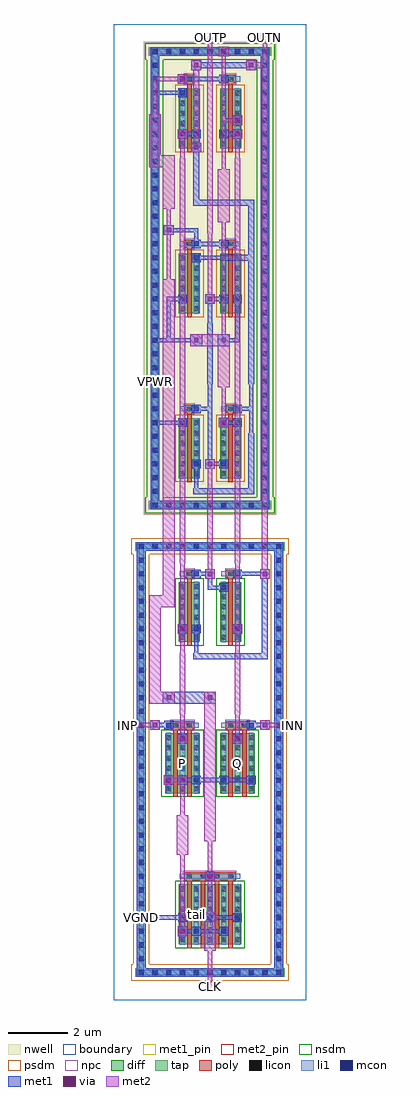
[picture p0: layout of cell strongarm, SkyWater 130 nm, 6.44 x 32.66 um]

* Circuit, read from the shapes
.subckt strongarm CLK INN INP OUTN OUTP P Q VGND VPWR tail
XM1 P INP tail VGND sky130_fd_pr__nfet_01v8 w=2 l=0.15 m=2
XM2 tail CLK VGND VGND sky130_fd_pr__nfet_01v8 w=2 l=0.15 m=4
XM3 OUTN OUTP P VGND sky130_fd_pr__nfet_01v8 w=2 l=0.15
XM4 Q INN tail VGND sky130_fd_pr__nfet_01v8 w=2 l=0.15 m=2
XM5 Q OUTN OUTP VGND sky130_fd_pr__nfet_01v8 w=2 l=0.15
XM6 OUTN OUTP VPWR VPWR sky130_fd_pr__pfet_01v8 w=2 l=0.15
XM7 OUTN CLK VPWR VPWR sky130_fd_pr__pfet_01v8 w=2 l=0.15
XM8 P CLK VPWR VPWR sky130_fd_pr__pfet_01v8 w=2 l=0.15
XM9 VPWR OUTN OUTP VPWR sky130_fd_pr__pfet_01v8 w=2 l=0.15
XM10 VPWR CLK OUTP VPWR sky130_fd_pr__pfet_01v8 w=2 l=0.15
XM11 VPWR CLK Q VPWR sky130_fd_pr__pfet_01v8 w=2 l=0.15
.ends

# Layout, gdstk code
import gdstk
lib = gdstk.Library(unit=1e-6, precision=1e-09)
def R(c, l, rs):  # rectangles x0, y0, x1, y1
    for r in rs: c.add(gdstk.rectangle(r[:2], r[2:], *l))
def A(c, l, x, y, w, h, nx, ny, dx, dy):  # array of equal rectangles
    R(c, l, [(x+i*dx, y+j*dy, x+i*dx+w, y+j*dy+h) for i in range(nx) for j in range(ny)])
nwell = (64, 20)
diff = (65, 20)
tap = (65, 44)
poly = (66, 20)
licon = (66, 44)
li1 = (67, 20)
mcon = (67, 44)
met1_pin = (68, 16)
met1 = (68, 20)
via = (68, 44)
met2_pin = (69, 16)
met2 = (69, 20)
nsdm = (93, 44)
psdm = (94, 20)
npc = (95, 20)
boundary = (235, 4)

strongarm = lib.new_cell('strongarm')
R(strongarm, nwell, [(0.995,16.235,5.445,32.065)])
A(strongarm, diff, 2.175, 17.46, 0.71, 2, 1, 3, 0, 5.52)
A(strongarm, diff, 3.555, 17.46, 0.71, 2, 1, 3, 0, 5.52)
R(strongarm, diff, [(2.175,1.865,4.265,3.865), (1.715,6.925,2.885,8.925), (3.555,6.925,4.725,8.925), (2.175,11.985,2.885,13.985), (3.555,11.985,4.265,13.985)])
R(strongarm, tap, [(0.715,0.775,5.725,1.065), (0.775,0.775,1.065,15.325), (5.375,0.775,5.665,15.325), (0.715,15.035,5.725,15.325), (1.175,16.415,5.265,16.705), (1.235,16.415,1.525,31.885), (4.915,16.415,5.205,31.885), (1.175,31.595,5.265,31.885)])
A(strongarm, poly, 2.455, 1.735, 0.15, 2.405, 4, 1, 0.46, 0)
A(strongarm, poly, 2.365, 14.125, 0.33, 0.27, 1, 4, 0, 5.52)
A(strongarm, poly, 3.745, 14.125, 0.33, 0.27, 1, 4, 0, 5.52)
A(strongarm, poly, 2.455, 17.33, 0.15, 2.45, 1, 3, 0, 5.52)
A(strongarm, poly, 3.835, 17.33, 0.15, 2.45, 1, 3, 0, 5.52)
R(strongarm, poly, [(2.365,4.005,4.075,4.275), (1.995,6.795,2.145,9.2), (2.455,6.795,2.605,9.2), (3.835,6.795,3.985,9.2), (4.295,6.795,4.445,9.2), (1.905,9.065,2.695,9.335), (3.745,9.065,4.535,9.335), (2.455,11.855,2.605,14.26), (3.835,11.855,3.985,14.26)])
A(strongarm, licon, 0.835, 0.835, 0.17, 0.17, 11, 2, 0.46, 14.26)
A(strongarm, licon, 0.835, 1.295, 0.17, 0.17, 1, 30, 0, 0.46)
A(strongarm, licon, 5.435, 1.295, 0.17, 0.17, 1, 30, 0, 0.46)
A(strongarm, licon, 2.215, 1.93, 0.17, 0.17, 5, 6, 0.46, 0.34)
A(strongarm, licon, 2.445, 4.055, 0.17, 0.17, 4, 1, 0.46, 0)
A(strongarm, licon, 1.755, 6.99, 0.17, 0.17, 3, 6, 0.46, 0.34)
A(strongarm, licon, 3.595, 6.99, 0.17, 0.17, 3, 6, 0.46, 0.34)
A(strongarm, licon, 2.215, 12.05, 0.17, 0.17, 1, 6, 0, 0.34)
A(strongarm, licon, 2.675, 12.05, 0.17, 0.17, 1, 6, 0, 0.34)
A(strongarm, licon, 3.595, 12.05, 0.17, 0.17, 1, 6, 0, 0.34)
A(strongarm, licon, 4.055, 12.05, 0.17, 0.17, 1, 6, 0, 0.34)
A(strongarm, licon, 2.445, 14.175, 0.17, 0.17, 1, 4, 0, 5.52)
A(strongarm, licon, 3.825, 14.175, 0.17, 0.17, 1, 4, 0, 5.52)
A(strongarm, licon, 1.295, 16.475, 0.17, 0.17, 9, 2, 0.46, 15.18)
A(strongarm, licon, 1.295, 16.935, 0.17, 0.17, 1, 32, 0, 0.46)
A(strongarm, licon, 4.975, 16.935, 0.17, 0.17, 1, 32, 0, 0.46)
A(strongarm, licon, 2.215, 17.525, 0.17, 0.17, 1, 6, 0, 0.34)
A(strongarm, licon, 2.675, 17.525, 0.17, 0.17, 1, 6, 0, 0.34)
A(strongarm, licon, 3.595, 17.525, 0.17, 0.17, 1, 6, 0, 0.34)
A(strongarm, licon, 4.055, 17.525, 0.17, 0.17, 1, 6, 0, 0.34)
A(strongarm, licon, 2.215, 23.045, 0.17, 0.17, 1, 6, 0, 0.34)
A(strongarm, licon, 2.675, 23.045, 0.17, 0.17, 1, 6, 0, 0.34)
A(strongarm, licon, 3.595, 23.045, 0.17, 0.17, 1, 6, 0, 0.34)
A(strongarm, licon, 4.055, 23.045, 0.17, 0.17, 1, 6, 0, 0.34)
A(strongarm, licon, 2.215, 28.565, 0.17, 0.17, 1, 6, 0, 0.34)
A(strongarm, licon, 2.675, 28.565, 0.17, 0.17, 1, 6, 0, 0.34)
A(strongarm, licon, 3.595, 28.565, 0.17, 0.17, 1, 6, 0, 0.34)
A(strongarm, licon, 4.055, 28.565, 0.17, 0.17, 1, 6, 0, 0.34)
R(strongarm, licon, [(1.985,9.115,2.155,9.285), (2.445,9.115,2.615,9.285), (3.825,9.115,3.995,9.285), (4.285,9.115,4.455,9.285)])
A(strongarm, li1, 2.215, 1.85, 0.17, 2.03, 5, 1, 0.46, 0)
A(strongarm, li1, 1.755, 6.91, 0.17, 2.03, 3, 1, 0.46, 0)
A(strongarm, li1, 3.595, 6.91, 0.17, 2.03, 3, 1, 0.46, 0)
A(strongarm, li1, 2.215, 14.175, 0.63, 0.17, 1, 4, 0, 5.52)
A(strongarm, li1, 3.595, 14.175, 0.63, 0.17, 1, 4, 0, 5.52)
A(strongarm, li1, 2.215, 17.445, 0.17, 2.03, 1, 3, 0, 5.52)
A(strongarm, li1, 2.675, 17.445, 0.17, 2.03, 1, 3, 0, 5.52)
A(strongarm, li1, 3.595, 17.445, 0.17, 2.03, 1, 3, 0, 5.52)
A(strongarm, li1, 4.055, 17.445, 0.17, 2.03, 1, 3, 0, 5.52)
R(strongarm, li1, [(0.755,0.835,5.685,1.005), (0.835,0.835,1.005,15.265), (5.435,0.835,5.605,15.265), (2.215,4.055,4.225,4.225), (1.755,9.115,2.845,9.285), (3.595,9.115,4.685,9.285), (2.215,11.97,2.385,14), (2.675,11.97,2.845,14), (3.595,11.97,3.765,14), (4.055,11.97,4.225,14), (0.755,15.095,5.685,15.265), (1.215,16.475,5.225,16.645), (1.295,16.475,1.465,31.825), (4.975,16.475,5.145,31.825), (1.215,31.655,5.225,31.825)])
A(strongarm, mcon, 0.835, 0.835, 0.17, 0.17, 11, 2, 0.46, 14.26)
A(strongarm, mcon, 0.835, 1.295, 0.17, 0.17, 1, 6, 0, 0.46)
A(strongarm, mcon, 5.435, 1.295, 0.17, 0.17, 1, 6, 0, 0.46)
A(strongarm, mcon, 2.215, 2.675, 0.17, 0.17, 3, 1, 0.92, 0)
A(strongarm, mcon, 0.835, 4.055, 0.17, 0.17, 3, 1, 2.3, 0)
A(strongarm, mcon, 0.835, 4.515, 0.17, 0.17, 1, 6, 0, 0.46)
A(strongarm, mcon, 5.435, 4.515, 0.17, 0.17, 1, 6, 0, 0.46)
A(strongarm, mcon, 0.835, 7.275, 0.17, 0.17, 6, 1, 0.92, 0)
A(strongarm, mcon, 0.835, 7.735, 0.17, 0.17, 1, 16, 0, 0.46)
A(strongarm, mcon, 5.435, 7.735, 0.17, 0.17, 1, 10, 0, 0.46)
A(strongarm, mcon, 2.675, 12.335, 0.17, 0.17, 3, 2, 1.38, 1.84)
A(strongarm, mcon, 5.435, 12.795, 0.17, 0.17, 1, 3, 0, 0.46)
A(strongarm, mcon, 1.295, 16.475, 0.17, 0.17, 9, 2, 0.46, 15.18)
A(strongarm, mcon, 1.295, 16.935, 0.17, 0.17, 1, 6, 0, 0.46)
A(strongarm, mcon, 4.975, 16.935, 0.17, 0.17, 1, 30, 0, 0.46)
A(strongarm, mcon, 1.295, 19.695, 0.17, 0.17, 3, 1, 1.38, 0)
A(strongarm, mcon, 1.295, 20.155, 0.17, 0.17, 1, 25, 0, 0.46)
A(strongarm, mcon, 2.215, 30.735, 0.17, 0.17, 3, 1, 1.38, 0)
R(strongarm, mcon, [(2.675,2.215,2.845,2.385), (3.595,2.215,3.765,2.385), (2.215,8.655,2.385,8.825), (4.055,8.655,4.225,8.825), (1.755,9.115,1.925,9.285), (4.515,9.115,4.685,9.285), (2.215,12.335,2.385,12.505), (3.595,13.715,3.765,13.885), (5.435,14.635,5.605,14.805), (2.675,17.855,2.845,18.025), (3.595,17.855,3.765,18.025), (2.215,19.235,2.385,19.405), (4.055,19.235,4.225,19.405), (2.215,23.375,2.385,23.545), (3.595,23.375,3.765,23.545), (4.055,23.375,4.225,23.545), (2.675,24.755,2.845,24.925), (2.675,25.215,2.845,25.385), (3.595,25.215,3.765,25.385), (2.675,28.895,2.845,29.065), (3.595,28.895,3.765,29.065), (4.055,29.355,4.225,29.525), (2.215,30.275,2.385,30.445), (4.975,31.195,5.145,31.365)])
R(strongarm, met1_pin, [(0.85,2.69,0.99,2.83), (1.31,19.25,1.45,22.15)])
A(strongarm, met1, 2.155, 2.615, 0.29, 0.29, 3, 1, 0.92, 0)
A(strongarm, met1, 1.695, 7.215, 0.29, 0.29, 4, 1, 0.92, 0)
R(strongarm, met1, [(0.775,0.775,5.665,1.065), (0.775,0.775,1.065,15.325), (5.375,0.775,5.665,15.325), (2.14,2.14,2.46,2.46), (2.615,2.155,2.905,2.445), (3.535,2.155,3.825,2.445), (2.23,2.23,2.83,2.37), (2.69,2.23,3.75,2.37), (0.85,2.69,2.37,2.83), (0.85,2.69,0.99,2.83), (0.85,2.69,0.99,15.25), (2.23,2.69,3.29,2.83), (3.15,2.69,4.21,2.83), (3.06,3.98,3.38,4.3), (3.075,3.995,3.365,4.285), (1.68,7.2,2,7.52), (2.14,7.2,2.46,7.52), (2.23,7.29,2.83,7.43), (2.69,7.29,3.75,7.43), (3.61,7.29,4.67,7.43), (2.14,8.58,2.46,8.9), (3.98,8.58,4.3,8.9), (2.155,8.595,2.445,8.885), (3.995,8.595,4.285,8.885), (1.22,9.04,1.54,9.36), (4.9,9.04,5.22,9.36), (1.695,9.055,1.985,9.345), (4.455,9.055,4.745,9.345), (1.31,9.13,1.91,9.27), (4.53,9.13,5.13,9.27), (1.64,9.92,2.04,10.32), (1.64,9.92,3.42,10.32), (3.02,9.92,3.42,10.32), (2.66,11.4,5.16,11.6), (4.96,11.4,5.16,14.36), (2.69,11.43,2.83,12.49), (2.14,12.26,2.46,12.58), (3.98,12.26,4.3,12.58), (2.155,12.275,2.445,12.565), (2.615,12.275,2.905,12.565), (3.995,12.275,4.285,12.565), (3.535,13.655,3.825,13.945), (3.15,13.73,3.75,13.87), (3.15,13.73,3.29,14.33), (3.06,14.1,3.38,14.42), (4.9,14.1,5.22,14.42), (2.615,14.115,2.905,14.405), (3.995,14.115,4.285,14.405), (2.69,14.19,3.29,14.33), (4.07,14.19,5.13,14.33), (0.775,15.035,5.665,15.325), (0.85,15.11,0.99,15.25), (1.235,16.415,5.205,16.705), (1.235,16.415,1.525,31.885), (4.915,16.415,5.205,31.885), (2.66,16.92,4.7,17.12), (4.5,16.92,4.7,18.96), (2.69,16.95,2.83,18.01), (3.06,17.78,3.38,18.1), (2.615,17.795,2.905,18.085), (3.535,17.795,3.825,18.085), (3.15,17.87,3.75,18.01), (3.15,17.87,3.29,19.85), (4.53,18.79,4.67,19.85), (3.52,19.16,3.84,19.48), (2.155,19.175,2.445,19.465), (3.995,19.175,4.285,19.465), (1.31,19.25,2.37,19.39), (1.31,19.25,1.45,22.15), (3.61,19.25,4.21,19.39), (2.615,19.635,2.905,19.925), (3.995,19.635,4.285,19.925), (2.69,19.71,3.29,19.85), (3.15,19.71,3.29,20.77), (4.07,19.71,4.67,19.85), (4.53,19.71,4.67,20.77), (3.12,20.6,3.32,22.64), (4.5,20.6,4.7,26.78), (2.56,21.88,2.96,22.28), (3.48,21.88,3.88,22.28), (1.31,22.01,2.83,22.15), (1.31,22.01,1.45,22.15), (1.77,22.01,1.91,23.53), (3.61,22.01,4.21,22.15), (4.07,22.01,4.21,23.53), (3.15,22.47,3.29,23.53), (3.06,23.3,3.38,23.62), (2.155,23.315,2.445,23.605), (3.535,23.315,3.825,23.605), (3.995,23.315,4.285,23.605), (1.77,23.39,2.37,23.53), (3.15,23.39,3.75,23.53), (2.615,24.695,2.905,24.985), (3.58,24.74,4.7,24.94), (2.69,24.77,3.75,24.91), (2.615,25.155,2.905,25.445), (3.535,25.155,3.825,25.445), (2.69,25.23,3.75,25.37), (2.69,25.23,2.83,25.83), (1.68,25.6,2,25.92), (1.77,25.69,2.83,25.83), (2.66,26.58,2.86,28.62), (2.66,26.58,4.7,26.78), (2.6,28.36,2.92,28.68), (2.14,28.82,2.46,29.14), (3.98,28.82,4.3,29.14), (2.615,28.835,2.905,29.125), (3.535,28.835,3.825,29.125), (2.23,28.91,2.83,29.05), (3.61,28.91,4.21,29.05), (3.98,29.28,4.3,29.6), (3.995,29.295,4.285,29.585), (2.155,30.215,2.445,30.505), (1.31,30.29,2.37,30.43), (1.31,30.29,1.45,31.81), (2.14,30.66,2.46,30.98), (2.155,30.675,2.445,30.965), (3.535,30.675,3.825,30.965), (2.23,30.75,3.75,30.89), (2.6,31.12,2.92,31.44), (4.44,31.12,4.76,31.44), (2.66,31.18,4.7,31.38), (3.52,31.58,3.84,31.9), (1.235,31.595,5.205,31.885), (1.31,31.67,3.75,31.81), (3.61,31.67,3.75,31.81)])
R(strongarm, via, [(2.225,2.225,2.375,2.375), (3.145,4.065,3.295,4.215), (1.765,7.285,1.915,7.435), (2.225,7.285,2.375,7.435), (2.225,8.665,2.375,8.815), (4.065,8.665,4.215,8.815), (1.305,9.125,1.455,9.275), (4.985,9.125,5.135,9.275), (1.765,10.045,1.915,10.195), (3.145,10.045,3.295,10.195), (2.225,12.345,2.375,12.495), (4.065,12.345,4.215,12.495), (3.145,14.185,3.295,14.335), (4.985,14.185,5.135,14.335), (3.145,17.865,3.295,18.015), (3.605,19.245,3.755,19.395), (2.685,22.005,2.835,22.155), (3.605,22.005,3.755,22.155), (3.145,23.385,3.295,23.535), (1.765,25.685,1.915,25.835), (2.685,28.445,2.835,28.595), (2.225,28.905,2.375,29.055), (4.065,28.905,4.215,29.055), (4.065,29.365,4.215,29.515), (2.225,30.745,2.375,30.895), (2.685,31.205,2.835,31.355), (4.525,31.205,4.675,31.355), (3.605,31.665,3.755,31.815)])
R(strongarm, met2_pin, [(3.07,0.31,3.37,0.61), (0.31,9.05,0.61,9.35), (5.83,9.05,6.13,9.35), (3.07,32.05,3.37,32.35), (4.91,32.05,5.21,32.35)])
R(strongarm, met2, [(3.07,0.31,3.37,0.61), (3.15,0.39,3.29,0.53), (3.15,0.39,3.29,1.91), (3.02,1.64,3.42,2.96), (2.14,2.14,2.46,2.46), (2.23,2.23,2.37,5.13), (3.15,2.69,3.29,4.21), (3.06,3.98,3.38,4.3), (3.15,4.07,3.29,5.59), (2.1,4.86,2.5,6.18), (3.02,5.32,3.42,10.32), (2.23,5.91,2.37,7.43), (1.68,7.2,2,7.52), (2.14,7.2,2.46,7.52), (1.77,7.29,2.37,7.43), (2.14,8.58,2.46,8.9), (3.98,8.58,4.3,8.9), (2.23,8.67,2.37,9.73), (4.07,8.67,4.21,9.73), (1.22,9.04,1.54,9.36), (4.9,9.04,5.22,9.36), (0.31,9.05,0.61,9.35), (5.83,9.05,6.13,9.35), (0.39,9.13,0.53,9.27), (0.39,9.13,1.45,9.27), (4.99,9.13,6.05,9.27), (5.91,9.13,6.05,9.27), (2.2,9.56,2.4,11.6), (4.04,9.56,4.24,11.6), (1.18,9.92,2.04,10.32), (1.18,9.92,1.58,13.54), (1.64,9.92,2.04,10.32), (3.02,9.92,3.42,10.32), (2.23,11.43,2.37,12.49), (4.07,11.43,4.21,12.49), (2.14,12.26,2.46,12.58), (3.98,12.26,4.3,12.58), (2.23,12.35,2.37,14.79), (4.07,12.35,4.21,14.79), (1.18,13.14,2.04,13.54), (1.64,13.14,2.04,24.12), (3.06,14.1,3.38,14.42), (4.9,14.1,5.22,14.42), (4.96,14.16,5.16,31.38), (3.15,14.19,3.29,15.25), (2.2,14.62,2.4,28.16), (4.04,14.62,4.24,28.16), (3.12,15.08,3.32,17.12), (3.15,16.95,3.29,18.01), (3.06,17.78,3.38,18.1), (3.52,19.16,3.84,19.48), (3.61,19.25,3.75,20.77), (3.48,20.5,3.88,22.28), (2.56,21.88,2.96,22.28), (2.56,21.88,3.88,22.28), (3.48,21.88,3.88,22.28), (3.61,22.01,3.75,26.29), (3.06,23.3,3.38,23.62), (3.15,23.39,3.29,25.83), (1.77,23.85,1.91,25.83), (1.68,25.6,2,25.92), (3.12,25.66,3.32,31.38), (1.77,25.69,1.91,26.75), (3.48,26.02,3.88,27.8), (1.64,26.48,2.04,28.26), (3.61,27.53,3.75,29.51), (1.18,27.86,1.58,29.64), (1.18,27.86,2.04,28.26), (2.23,27.99,2.37,29.05), (4.07,27.99,4.21,29.05), (2.6,28.36,2.92,28.68), (2.66,28.42,2.86,31.38), (2.14,28.82,2.46,29.14), (3.98,28.82,4.3,29.14), (3.98,29.28,4.3,29.6), (1.31,29.37,1.45,30.89), (3.61,29.37,3.75,31.81), (3.61,29.37,4.21,29.51), (2.14,30.66,2.46,30.98), (1.31,30.75,2.37,30.89), (2.6,31.12,2.92,31.44), (4.44,31.12,4.76,31.44), (4.5,31.18,5.16,31.38), (3.15,31.21,3.29,32.27), (4.99,31.21,5.13,32.27), (3.52,31.58,3.84,31.9), (3.07,32.05,3.37,32.35), (4.91,32.05,5.21,32.35), (3.15,32.13,3.29,32.27), (4.99,32.13,5.13,32.27)])
R(strongarm, nsdm, [(2.05,1.74,4.39,3.99), (1.59,6.8,3.01,9.05), (3.43,6.8,4.85,9.05), (2.05,11.86,3.01,14.11), (3.43,11.86,4.39,14.11), (1.05,16.29,5.39,16.83), (1.11,16.83,1.65,31.47), (4.79,16.83,5.33,31.47), (1.05,31.47,5.39,32.01)])
A(strongarm, psdm, 2.05, 17.335, 0.96, 2.25, 1, 3, 0, 5.52)
A(strongarm, psdm, 3.43, 17.335, 0.96, 2.25, 1, 3, 0, 5.52)
R(strongarm, psdm, [(0.59,0.65,5.85,1.19), (0.65,1.19,1.19,14.91), (5.25,1.19,5.79,14.91), (0.59,14.91,5.85,15.45)])
A(strongarm, npc, 2.345, 14.075, 0.37, 0.37, 1, 4, 0, 5.52)
A(strongarm, npc, 3.725, 14.075, 0.37, 0.37, 1, 4, 0, 5.52)
R(strongarm, npc, [(2.345,3.955,4.095,4.325), (1.885,9.015,2.715,9.385), (3.725,9.015,4.555,9.385)])
R(strongarm, boundary, [(0,0,6.44,32.66)])
strongarm.add(gdstk.Label('tail', (2.76,2.865), layer=67, texttype=5))
strongarm.add(gdstk.Label('P', (2.3,7.925), layer=67, texttype=5))
strongarm.add(gdstk.Label('Q', (4.14,7.925), layer=67, texttype=5))
strongarm.add(gdstk.Label('VPWR', (1.38,20.7), layer=68, texttype=5))
strongarm.add(gdstk.Label('VGND', (0.92,2.76), layer=68, texttype=5))
strongarm.add(gdstk.Label('CLK', (3.22,0.46), layer=69, texttype=5))
strongarm.add(gdstk.Label('INP', (0.46,9.2), layer=69, texttype=5))
strongarm.add(gdstk.Label('INN', (5.98,9.2), layer=69, texttype=5))
strongarm.add(gdstk.Label('OUTP', (3.22,32.2), layer=69, texttype=5))
strongarm.add(gdstk.Label('OUTN', (5.06,32.2), layer=69, texttype=5))
strongarm.add(gdstk.Label('VPWR', (1.38,20.7), layer=68, texttype=16))
strongarm.add(gdstk.Label('VGND', (0.92,2.76), layer=68, texttype=16))
strongarm.add(gdstk.Label('CLK', (3.22,0.46), layer=69, texttype=16))
strongarm.add(gdstk.Label('INP', (0.46,9.2), layer=69, texttype=16))
strongarm.add(gdstk.Label('INN', (5.98,9.2), layer=69, texttype=16))
strongarm.add(gdstk.Label('OUTP', (3.22,32.2), layer=69, texttype=16))
strongarm.add(gdstk.Label('OUTN', (5.06,32.2), layer=69, texttype=16))

lib.write_gds('strongarm.gds')
